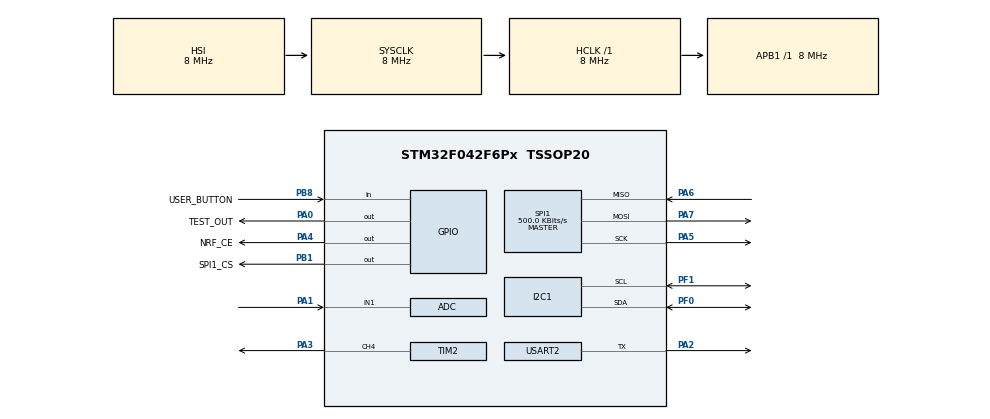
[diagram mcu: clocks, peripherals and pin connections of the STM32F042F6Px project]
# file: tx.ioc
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ADC.ClockPrescaler=ADC_CLOCK_ASYNC_DIV1
ADC.ContinuousConvMode=DISABLE
ADC.DMAContinuousRequests=DISABLE
ADC.DataAlign=ADC_DATAALIGN_RIGHT
ADC.DiscontinuousConvMode=DISABLE
ADC.EOCSelection=ADC_EOC_SINGLE_CONV
ADC.EnableAnalogWatchDog=false
ADC.ExternalTrigConv=ADC_SOFTWARE_START
ADC.ExternalTrigConvEdge=ADC_EXTERNALTRIGCONVEDGE_NONE
ADC.LowPowerAutoPowerOff=DISABLE
ADC.LowPowerAutoWait=DISABLE
ADC.Overrun=ADC_OVR_DATA_PRESERVED
ADC.Resolution=ADC_RESOLUTION_8B
ADC.SamplingTime=ADC_SAMPLETIME_71CYCLES_5
ADC.ScanConvMode=ADC_SCAN_DIRECTION_FORWARD
IWDG.Prescaler=IWDG_PRESCALER_32
Mcu.Family=STM32F0
Mcu.Name=STM32F042F6Px
Mcu.Package=TSSOP20
NVIC.RTC_IRQn=true\:0\:0\:false\:false\:true\:true
NVIC.TIM17_IRQn=true\:0\:0\:false\:false\:true\:true
PA0.GPIO_Label=TEST_OUT
PA0.Signal=GPIO_Output
PA1.Mode=IN1
PA1.Signal=ADC_IN1
PA13.Mode=Serial_Wire
PA13.Signal=SYS_SWDIO
PA14.Mode=Serial_Wire
PA14.Signal=SYS_SWCLK
PA2.Mode=Half_duplex(single_wire_mode)
PA2.Signal=USART2_TX
PA3.Signal=S_TIM2_CH4
PA4.GPIO_Label=NRF_CE
PA4.Signal=GPIO_Output
PA5.Mode=Full_Duplex_Master
PA5.Signal=SPI1_SCK
PA6.Mode=Full_Duplex_Master
PA6.Signal=SPI1_MISO
PA7.Mode=Full_Duplex_Master
PA7.Signal=SPI1_MOSI
PB1.GPIO_Label=SPI1_CS
PB1.PinState=GPIO_PIN_SET
PB1.Signal=GPIO_Output
PB8.GPIO_Label=USER_BUTTON
PB8.GPIO_PuPd=GPIO_PULLUP
PB8.Signal=GPIO_Input
PF0-OSC_IN.Mode=I2C
PF0-OSC_IN.Signal=I2C1_SDA
PF1-OSC_OUT.Mode=I2C
PF1-OSC_OUT.Signal=I2C1_SCL
ProjectManager.HeapSize=0x200
ProjectManager.StackSize=0x400
ProjectManager.TargetToolchain=MDK-ARM V5
RCC.AHBFreq_Value=8000000
RCC.APB1Freq_Value=8000000
RCC.APB1TimFreq_Value=8000000
RCC.HCLKFreq_Value=8000000
RCC.SYSCLKFreq_VALUE=8000000
RTC.Alarm=RTC_ALARM_A
RTC.AlarmMaskDateWeekDay=RTC_ALARMMASK_DATEWEEKDAY
RTC.AlarmMaskHours=RTC_ALARMMASK_HOURS
RTC.AlarmMaskMinutes=RTC_ALARMMASK_MINUTES
RTC.AsynchPrediv=26
RTC.Seconds_A=5
RTC.SynchPrediv=4
SH.S_TIM2_CH4.0=TIM2_CH4,PWM Generation4 CH4
SPI1.BaudRatePrescaler=SPI_BAUDRATEPRESCALER_16
SPI1.CalculateBaudRate=500.0 KBits/s
SPI1.DataSize=SPI_DATASIZE_8BIT
SPI1.Direction=SPI_DIRECTION_2LINES
SPI1.Mode=SPI_MODE_MASTER
SPI1.VirtualType=VM_MASTER
TIM17.Period=16666
TIM17.Prescaler=7
TIM2.Channel-PWM\ Generation4\ CH4=TIM_CHANNEL_4
TIM2.Period=255
TIM2.Prescaler=70
USART2.BaudRate=19200
USART2.Mode=MODE_TX
USART2.TxPinLevelInvertParam=UART_ADVFEATURE_TXINV_DISABLE
USART2.VirtualMode-Half_duplex(single_wire_mode)=VM_ASYNC
VP_IWDG_VS_IWDG.Mode=IWDG_Activate
VP_RTC_VS_RTC_Activate.Mode=RTC_Enabled
VP_RTC_VS_RTC_Alarm_A_Intern.Mode=Alarm A
VP_RTC_VS_RTC_Calendar.Mode=RTC_Calendar
VP_TIM17_VS_ClockSourceINT.Mode=Enable_Timer
VP_TIM2_VS_ClockSourceINT.Mode=Internal
board=custom

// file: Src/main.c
/**
  ******************************************************************************
  * @file           : main.c
  * @brief          : Main program body
  ******************************************************************************
  ** This notice applies to any and all portions of this file
  * that are not between comment pairs USER CODE BEGIN and
  * USER CODE END. Other portions of this file, whether
  * inserted by the user or by software development tools
  * are owned by their respective copyright owners.
  *
  * COPYRIGHT(c) 2019 STMicroelectronics
  *
  * Redistribution and use in source and binary forms, with or without modification,
  * are permitted provided that the following conditions are met:
  *   1. Redistributions of source code must retain the above copyright notice,
  *      this list of conditions and the following disclaimer.
  *   2. Redistributions in binary form must reproduce the above copyright notice,
  *      this list of conditions and the following disclaimer in the documentation
  *      and/or other materials provided with the distribution.
  *   3. Neither the name of STMicroelectronics nor the names of its contributors
  *      may be used to endorse or promote products derived from this software
  *      without specific prior written permission.
  *
  * THIS SOFTWARE IS PROVIDED BY THE COPYRIGHT HOLDERS AND CONTRIBUTORS "AS IS"
  * AND ANY EXPRESS OR IMPLIED WARRANTIES, INCLUDING, BUT NOT LIMITED TO, THE
  * IMPLIED WARRANTIES OF MERCHANTABILITY AND FITNESS FOR A PARTICULAR PURPOSE ARE
  * DISCLAIMED. IN NO EVENT SHALL THE COPYRIGHT HOLDER OR CONTRIBUTORS BE LIABLE
  * FOR ANY DIRECT, INDIRECT, INCIDENTAL, SPECIAL, EXEMPLARY, OR CONSEQUENTIAL
  * DAMAGES (INCLUDING, BUT NOT LIMITED TO, PROCUREMENT OF SUBSTITUTE GOODS OR
  * SERVICES; LOSS OF USE, DATA, OR PROFITS; OR BUSINESS INTERRUPTION) HOWEVER
  * CAUSED AND ON ANY THEORY OF LIABILITY, WHETHER IN CONTRACT, STRICT LIABILITY,
  * OR TORT (INCLUDING NEGLIGENCE OR OTHERWISE) ARISING IN ANY WAY OUT OF THE USE
  * OF THIS SOFTWARE, EVEN IF ADVISED OF THE POSSIBILITY OF SUCH DAMAGE.
  *
  ******************************************************************************
  */
#include "main.h"
#include "stm32f0xx_hal.h"

/* USER CODE BEGIN Includes */
#include <stdio.h>
#include <string.h>
#include <stdlib.h>
#include "shared.h"
#include "helpers.h"
#include "nrf24.h"
#include "VL53L0X.h"
#include "animation.h"

#define STATE_IDLE 0
#define STATE_TRIGGERED 1
#define NRF_PAYLOAD_SIZE 4
#define NRF_CHANNEL 124

#define ADC_BUF_SIZE 4
/* USER CODE END Includes */

ADC_HandleTypeDef hadc;

I2C_HandleTypeDef hi2c1;

IWDG_HandleTypeDef hiwdg;

RTC_HandleTypeDef hrtc;

SPI_HandleTypeDef hspi1;

TIM_HandleTypeDef htim2;
TIM_HandleTypeDef htim17;

UART_HandleTypeDef huart2;

/* USER CODE BEGIN PV */
/* Private variables ---------------------------------------------------------*/
volatile uint32_t wakeup_count = 1;
uint8_t nrf_status;
uint8_t data_array[NRF_PAYLOAD_SIZE];
uint8_t tx_address[5] = {0xDE,0xAD,0xBE,0xEF,0xBB};
uint8_t rx_address[5] = {0xFF,0xFF,0xFF,0xFF,0xFF};
/* USER CODE END PV */

void SystemClock_Config(void);
static void MX_GPIO_Init(void);
static void MX_USART2_UART_Init(void);
static void MX_I2C1_Init(void);
static void MX_SPI1_Init(void);
static void MX_RTC_Init(void);
static void MX_TIM2_Init(void);
static void MX_TIM17_Init(void);
static void MX_ADC_Init(void);
static void MX_IWDG_Init(void);

void HAL_TIM_MspPostInit(TIM_HandleTypeDef *htim);

/* USER CODE BEGIN PFP */
/* Private function prototypes -----------------------------------------------*/

/* USER CODE END PFP */

/* USER CODE BEGIN 0 */
int fputc(int ch, FILE *f)
{
    HAL_UART_Transmit(&huart2, (unsigned char *)&ch, 1, 10);
    return ch;
}

void HAL_RTC_AlarmAEventCallback(RTC_HandleTypeDef *hrtc)
{
  wakeup_count++;
  if(wakeup_count % 5000 == 0) // 5000 * 0.2 = 16.6 minutes
  {
    HAL_ADC_MspInit(&hadc);
    MX_ADC_Init();
    check_battery();
    HAL_ADC_MspDeInit(&hadc);
  }
}

void HAL_TIM_PeriodElapsedCallback(TIM_HandleTypeDef *htim)
{
  if(htim->Instance == TIM17)
    animation_update();
}

/* USER CODE END 0 */

int main(void)
{

  /* MCU Configuration----------------------------------------------------------*/

  /* Reset of all peripherals, Initializes the Flash interface and the Systick. */
  HAL_Init();

  /* Configure the system clock */
  SystemClock_Config();

  /* Initialize all configured peripherals */
  MX_GPIO_Init();
  MX_USART2_UART_Init();
  MX_I2C1_Init();
  MX_SPI1_Init();
  MX_TIM2_Init();
  MX_TIM17_Init();
  MX_ADC_Init();
  /* USER CODE BEGIN 2 */

  check_battery();
  HAL_ADC_MspDeInit(&hadc);

  animation_init(&htim17, &htim2);
  start_animation(ANIMATION_TYPE_BREATHING);

  for (int i = 0; i < 4; i++)
  {
    HAL_Delay(500);
  }

  /* USER CODE END 2 */

  /* Infinite loop */
  /* USER CODE BEGIN WHILE */

  printf("initializing NRF...\n");
  nrf24_init();
  nrf24_config(NRF_CHANNEL, NRF_PAYLOAD_SIZE);
  nrf24_tx_address(tx_address);
  nrf24_rx_address(rx_address);
  printf("done\n");
  uint8_t count = 0;

  start_animation(ANIMATION_TYPE_CONST_OFF);
  MX_RTC_Init();

  while (1)
  {
    count++;
  /* USER CODE END WHILE */

  /* USER CODE BEGIN 3 */
    start_animation(ANIMATION_TYPE_CONST_ON);
    memset(data_array, count, NRF_PAYLOAD_SIZE);
    printf("data_array: ");
    for (int i = 0; i < NRF_PAYLOAD_SIZE; ++i)
      printf("%d ", data_array[i]);
    printf("\n");
    nrf24_send(data_array);
    while(nrf24_isSending());
    nrf_status = nrf24_lastMessageStatus();
    if(nrf_status == NRF24_TRANSMISSON_OK)
    {
      printf("TX OK\n");
      printf("> Retranmission count: %d\r\n", nrf24_retransmissionCount());
    }
    else
    {
      printf("TX failed\n");
    }

    start_animation(ANIMATION_TYPE_CONST_OFF);
    HAL_Delay(1000);
  }
  /* USER CODE END 3 */

}

void SystemClock_Config(void)
{

  RCC_OscInitTypeDef RCC_OscInitStruct;
  RCC_ClkInitTypeDef RCC_ClkInitStruct;
  RCC_PeriphCLKInitTypeDef PeriphClkInit;

    /**Initializes the CPU, AHB and APB busses clocks
    */
  RCC_OscInitStruct.OscillatorType = RCC_OSCILLATORTYPE_HSI|RCC_OSCILLATORTYPE_HSI14
                              |RCC_OSCILLATORTYPE_LSI;
  RCC_OscInitStruct.HSIState = RCC_HSI_ON;
  RCC_OscInitStruct.HSI14State = RCC_HSI14_ON;
  RCC_OscInitStruct.HSICalibrationValue = 16;
  RCC_OscInitStruct.HSI14CalibrationValue = 16;
  RCC_OscInitStruct.LSIState = RCC_LSI_ON;
  RCC_OscInitStruct.PLL.PLLState = RCC_PLL_NONE;
  if (HAL_RCC_OscConfig(&RCC_OscInitStruct) != HAL_OK)
  {
    _Error_Handler(__FILE__, __LINE__);
  }

    /**Initializes the CPU, AHB and APB busses clocks
    */
  RCC_ClkInitStruct.ClockType = RCC_CLOCKTYPE_HCLK|RCC_CLOCKTYPE_SYSCLK
                              |RCC_CLOCKTYPE_PCLK1;
  RCC_ClkInitStruct.SYSCLKSource = RCC_SYSCLKSOURCE_HSI;
  RCC_ClkInitStruct.AHBCLKDivider = RCC_SYSCLK_DIV1;
  RCC_ClkInitStruct.APB1CLKDivider = RCC_HCLK_DIV1;

  if (HAL_RCC_ClockConfig(&RCC_ClkInitStruct, FLASH_LATENCY_0) != HAL_OK)
  {
    _Error_Handler(__FILE__, __LINE__);
  }

  PeriphClkInit.PeriphClockSelection = RCC_PERIPHCLK_I2C1|RCC_PERIPHCLK_RTC;
  PeriphClkInit.I2c1ClockSelection = RCC_I2C1CLKSOURCE_HSI;
  PeriphClkInit.RTCClockSelection = RCC_RTCCLKSOURCE_LSI;
  if (HAL_RCCEx_PeriphCLKConfig(&PeriphClkInit) != HAL_OK)
  {
    _Error_Handler(__FILE__, __LINE__);
  }

    /**Configure the Systick interrupt time
    */
  HAL_SYSTICK_Config(HAL_RCC_GetHCLKFreq()/1000);

    /**Configure the Systick
    */
  HAL_SYSTICK_CLKSourceConfig(SYSTICK_CLKSOURCE_HCLK);

  /* SysTick_IRQn interrupt configuration */
  HAL_NVIC_SetPriority(SysTick_IRQn, 0, 0);
}

/* ADC init function */
static void MX_ADC_Init(void)
{

  ADC_ChannelConfTypeDef sConfig;

    /**Configure the global features of the ADC (Clock, Resolution, Data Alignment and number of conversion)
    */
  hadc.Instance = ADC1;
  hadc.Init.ClockPrescaler = ADC_CLOCK_ASYNC_DIV1;
  hadc.Init.Resolution = ADC_RESOLUTION_8B;
  hadc.Init.DataAlign = ADC_DATAALIGN_RIGHT;
  hadc.Init.ScanConvMode = ADC_SCAN_DIRECTION_FORWARD;
  hadc.Init.EOCSelection = ADC_EOC_SINGLE_CONV;
  hadc.Init.LowPowerAutoWait = DISABLE;
  hadc.Init.LowPowerAutoPowerOff = DISABLE;
  hadc.Init.ContinuousConvMode = DISABLE;
  hadc.Init.DiscontinuousConvMode = DISABLE;
  hadc.Init.ExternalTrigConv = ADC_SOFTWARE_START;
  hadc.Init.ExternalTrigConvEdge = ADC_EXTERNALTRIGCONVEDGE_NONE;
  hadc.Init.DMAContinuousRequests = DISABLE;
  hadc.Init.Overrun = ADC_OVR_DATA_PRESERVED;
  if (HAL_ADC_Init(&hadc) != HAL_OK)
  {
    _Error_Handler(__FILE__, __LINE__);
  }

    /**Configure for the selected ADC regular channel to be converted.
    */
  sConfig.Channel = ADC_CHANNEL_1;
  sConfig.Rank = ADC_RANK_CHANNEL_NUMBER;
  sConfig.SamplingTime = ADC_SAMPLETIME_71CYCLES_5;
  if (HAL_ADC_ConfigChannel(&hadc, &sConfig) != HAL_OK)
  {
    _Error_Handler(__FILE__, __LINE__);
  }

}

/* I2C1 init function */
static void MX_I2C1_Init(void)
{

  hi2c1.Instance = I2C1;
  hi2c1.Init.Timing = 0x2000090E;
  hi2c1.Init.OwnAddress1 = 0;
  hi2c1.Init.AddressingMode = I2C_ADDRESSINGMODE_7BIT;
  hi2c1.Init.DualAddressMode = I2C_DUALADDRESS_DISABLE;
  hi2c1.Init.OwnAddress2 = 0;
  hi2c1.Init.OwnAddress2Masks = I2C_OA2_NOMASK;
  hi2c1.Init.GeneralCallMode = I2C_GENERALCALL_DISABLE;
  hi2c1.Init.NoStretchMode = I2C_NOSTRETCH_DISABLE;
  if (HAL_I2C_Init(&hi2c1) != HAL_OK)
  {
    _Error_Handler(__FILE__, __LINE__);
  }

    /**Configure Analogue filter
    */
  if (HAL_I2CEx_ConfigAnalogFilter(&hi2c1, I2C_ANALOGFILTER_ENABLE) != HAL_OK)
  {
    _Error_Handler(__FILE__, __LINE__);
  }

    /**Configure Digital filter
    */
  if (HAL_I2CEx_ConfigDigitalFilter(&hi2c1, 0) != HAL_OK)
  {
    _Error_Handler(__FILE__, __LINE__);
  }

}

/* IWDG init function */
static void MX_IWDG_Init(void)
{

  hiwdg.Instance = IWDG;
  hiwdg.Init.Prescaler = IWDG_PRESCALER_32;
  hiwdg.Init.Window = 4095;
  hiwdg.Init.Reload = 4095;
  if (HAL_IWDG_Init(&hiwdg) != HAL_OK)
  {
    _Error_Handler(__FILE__, __LINE__);
  }

}

/* RTC init function */
static void MX_RTC_Init(void)
{

  RTC_TimeTypeDef sTime;
  RTC_DateTypeDef sDate;
  RTC_AlarmTypeDef sAlarm;

    /**Initialize RTC Only
    */
  hrtc.Instance = RTC;
  hrtc.Init.HourFormat = RTC_HOURFORMAT_24;
  hrtc.Init.AsynchPrediv = 26;
  hrtc.Init.SynchPrediv = 4;
  hrtc.Init.OutPut = RTC_OUTPUT_DISABLE;
  hrtc.Init.OutPutPolarity = RTC_OUTPUT_POLARITY_HIGH;
  hrtc.Init.OutPutType = RTC_OUTPUT_TYPE_OPENDRAIN;
  if (HAL_RTC_Init(&hrtc) != HAL_OK)
  {
    _Error_Handler(__FILE__, __LINE__);
  }

    /**Initialize RTC and set the Time and Date
    */
  sTime.Hours = 0x0;
  sTime.Minutes = 0x0;
  sTime.Seconds = 0x0;
  sTime.DayLightSaving = RTC_DAYLIGHTSAVING_NONE;
  sTime.StoreOperation = RTC_STOREOPERATION_RESET;
  if (HAL_RTC_SetTime(&hrtc, &sTime, RTC_FORMAT_BCD) != HAL_OK)
  {
    _Error_Handler(__FILE__, __LINE__);
  }

  sDate.WeekDay = RTC_WEEKDAY_MONDAY;
  sDate.Month = RTC_MONTH_JANUARY;
  sDate.Date = 0x1;
  sDate.Year = 0x0;

  if (HAL_RTC_SetDate(&hrtc, &sDate, RTC_FORMAT_BCD) != HAL_OK)
  {
    _Error_Handler(__FILE__, __LINE__);
  }

    /**Enable the Alarm A
    */
  sAlarm.AlarmTime.Hours = 0x0;
  sAlarm.AlarmTime.Minutes = 0x0;
  sAlarm.AlarmTime.Seconds = 0x5;
  sAlarm.AlarmTime.SubSeconds = 0x0;
  sAlarm.AlarmTime.DayLightSaving = RTC_DAYLIGHTSAVING_NONE;
  sAlarm.AlarmTime.StoreOperation = RTC_STOREOPERATION_RESET;
  sAlarm.AlarmMask = RTC_ALARMMASK_DATEWEEKDAY|RTC_ALARMMASK_HOURS
                              |RTC_ALARMMASK_MINUTES;
  sAlarm.AlarmSubSecondMask = RTC_ALARMSUBSECONDMASK_ALL;
  sAlarm.AlarmDateWeekDaySel = RTC_ALARMDATEWEEKDAYSEL_DATE;
  sAlarm.AlarmDateWeekDay = 0x1;
  sAlarm.Alarm = RTC_ALARM_A;
  if (HAL_RTC_SetAlarm_IT(&hrtc, &sAlarm, RTC_FORMAT_BCD) != HAL_OK)
  {
    _Error_Handler(__FILE__, __LINE__);
  }

}

/* SPI1 init function */
static void MX_SPI1_Init(void)
{

  /* SPI1 parameter configuration*/
  hspi1.Instance = SPI1;
  hspi1.Init.Mode = SPI_MODE_MASTER;
  hspi1.Init.Direction = SPI_DIRECTION_2LINES;
  hspi1.Init.DataSize = SPI_DATASIZE_8BIT;
  hspi1.Init.CLKPolarity = SPI_POLARITY_LOW;
  hspi1.Init.CLKPhase = SPI_PHASE_1EDGE;
  hspi1.Init.NSS = SPI_NSS_SOFT;
  hspi1.Init.BaudRatePrescaler = SPI_BAUDRATEPRESCALER_16;
  hspi1.Init.FirstBit = SPI_FIRSTBIT_MSB;
  hspi1.Init.TIMode = SPI_TIMODE_DISABLE;
  hspi1.Init.CRCCalculation = SPI_CRCCALCULATION_DISABLE;
  hspi1.Init.CRCPolynomial = 7;
  hspi1.Init.CRCLength = SPI_CRC_LENGTH_DATASIZE;
  hspi1.Init.NSSPMode = SPI_NSS_PULSE_ENABLE;
  if (HAL_SPI_Init(&hspi1) != HAL_OK)
  {
    _Error_Handler(__FILE__, __LINE__);
  }

}

/* TIM2 init function */
static void MX_TIM2_Init(void)
{

  TIM_ClockConfigTypeDef sClockSourceConfig;
  TIM_MasterConfigTypeDef sMasterConfig;
  TIM_OC_InitTypeDef sConfigOC;

  htim2.Instance = TIM2;
  htim2.Init.Prescaler = 70;
  htim2.Init.CounterMode = TIM_COUNTERMODE_UP;
  htim2.Init.Period = 255;
  htim2.Init.ClockDivision = TIM_CLOCKDIVISION_DIV1;
  htim2.Init.AutoReloadPreload = TIM_AUTORELOAD_PRELOAD_DISABLE;
  if (HAL_TIM_Base_Init(&htim2) != HAL_OK)
  {
    _Error_Handler(__FILE__, __LINE__);
  }

  sClockSourceConfig.ClockSource = TIM_CLOCKSOURCE_INTERNAL;
  if (HAL_TIM_ConfigClockSource(&htim2, &sClockSourceConfig) != HAL_OK)
  {
    _Error_Handler(__FILE__, __LINE__);
  }

  if (HAL_TIM_PWM_Init(&htim2) != HAL_OK)
  {
    _Error_Handler(__FILE__, __LINE__);
  }

  sMasterConfig.MasterOutputTrigger = TIM_TRGO_RESET;
  sMasterConfig.MasterSlaveMode = TIM_MASTERSLAVEMODE_DISABLE;
  if (HAL_TIMEx_MasterConfigSynchronization(&htim2, &sMasterConfig) != HAL_OK)
  {
    _Error_Handler(__FILE__, __LINE__);
  }

  sConfigOC.OCMode = TIM_OCMODE_PWM1;
  sConfigOC.Pulse = 0;
  sConfigOC.OCPolarity = TIM_OCPOLARITY_HIGH;
  sConfigOC.OCFastMode = TIM_OCFAST_DISABLE;
  if (HAL_TIM_PWM_ConfigChannel(&htim2, &sConfigOC, TIM_CHANNEL_4) != HAL_OK)
  {
    _Error_Handler(__FILE__, __LINE__);
  }

  HAL_TIM_MspPostInit(&htim2);

}

/* TIM17 init function */
static void MX_TIM17_Init(void)
{

  htim17.Instance = TIM17;
  htim17.Init.Prescaler = 7;
  htim17.Init.CounterMode = TIM_COUNTERMODE_UP;
  htim17.Init.Period = 16666;
  htim17.Init.ClockDivision = TIM_CLOCKDIVISION_DIV1;
  htim17.Init.RepetitionCounter = 0;
  htim17.Init.AutoReloadPreload = TIM_AUTORELOAD_PRELOAD_DISABLE;
  if (HAL_TIM_Base_Init(&htim17) != HAL_OK)
  {
    _Error_Handler(__FILE__, __LINE__);
  }

}

/* USART2 init function */
static void MX_USART2_UART_Init(void)
{

  huart2.Instance = USART2;
  huart2.Init.BaudRate = 19200;
  huart2.Init.WordLength = UART_WORDLENGTH_8B;
  huart2.Init.StopBits = UART_STOPBITS_1;
  huart2.Init.Parity = UART_PARITY_NONE;
  huart2.Init.Mode = UART_MODE_TX;
  huart2.Init.HwFlowCtl = UART_HWCONTROL_NONE;
  huart2.Init.OverSampling = UART_OVERSAMPLING_16;
  huart2.Init.OneBitSampling = UART_ONE_BIT_SAMPLE_DISABLE;
  huart2.AdvancedInit.AdvFeatureInit = UART_ADVFEATURE_NO_INIT;
  if (HAL_HalfDuplex_Init(&huart2) != HAL_OK)
  {
    _Error_Handler(__FILE__, __LINE__);
  }

}

/** Configure pins as
        * Analog
        * Input
        * Output
        * EVENT_OUT
        * EXTI
*/
static void MX_GPIO_Init(void)
{

  GPIO_InitTypeDef GPIO_InitStruct;

  /* GPIO Ports Clock Enable */
  __HAL_RCC_GPIOB_CLK_ENABLE();
  __HAL_RCC_GPIOF_CLK_ENABLE();
  __HAL_RCC_GPIOA_CLK_ENABLE();

  /*Configure GPIO pin Output Level */
  HAL_GPIO_WritePin(GPIOA, TEST_OUT_Pin|NRF_CE_Pin, GPIO_PIN_RESET);

  /*Configure GPIO pin Output Level */
  HAL_GPIO_WritePin(SPI1_CS_GPIO_Port, SPI1_CS_Pin, GPIO_PIN_SET);

  /*Configure GPIO pin : USER_BUTTON_Pin */
  GPIO_InitStruct.Pin = USER_BUTTON_Pin;
  GPIO_InitStruct.Mode = GPIO_MODE_INPUT;
  GPIO_InitStruct.Pull = GPIO_PULLUP;
  HAL_GPIO_Init(USER_BUTTON_GPIO_Port, &GPIO_InitStruct);

  /*Configure GPIO pins : TEST_OUT_Pin NRF_CE_Pin */
  GPIO_InitStruct.Pin = TEST_OUT_Pin|NRF_CE_Pin;
  GPIO_InitStruct.Mode = GPIO_MODE_OUTPUT_PP;
  GPIO_InitStruct.Pull = GPIO_NOPULL;
  GPIO_InitStruct.Speed = GPIO_SPEED_FREQ_LOW;
  HAL_GPIO_Init(GPIOA, &GPIO_InitStruct);

  /*Configure GPIO pin : SPI1_CS_Pin */
  GPIO_InitStruct.Pin = SPI1_CS_Pin;
  GPIO_InitStruct.Mode = GPIO_MODE_OUTPUT_PP;
  GPIO_InitStruct.Pull = GPIO_NOPULL;
  GPIO_InitStruct.Speed = GPIO_SPEED_FREQ_LOW;
  HAL_GPIO_Init(SPI1_CS_GPIO_Port, &GPIO_InitStruct);

}

void _Error_Handler(char *file, int line)
{
  while(1)
  {
  }
}

/************************ (C) COPYRIGHT STMicroelectronics *****END OF FILE****/
